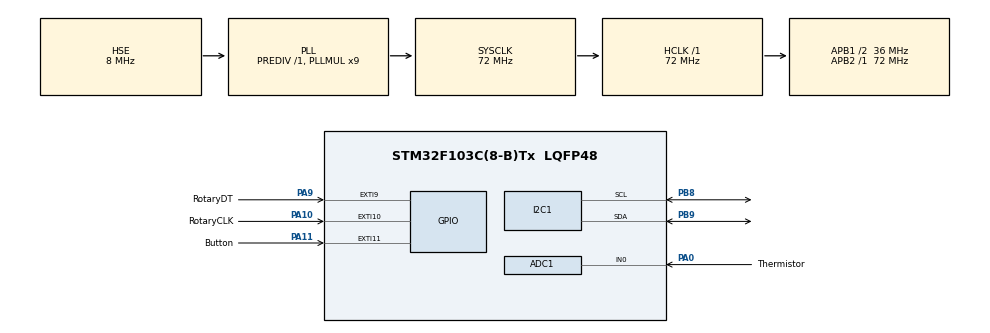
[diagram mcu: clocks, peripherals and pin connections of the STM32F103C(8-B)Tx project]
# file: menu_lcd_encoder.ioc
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Mcu.Family=STM32F1
RCC.PLLSourceVirtual=RCC_PLLSOURCE_HSE
NVIC.ADC1_2_IRQn=true\:0\:0\:false\:false\:true\:true\:true
Dma.ADC1.0.Instance=DMA1_Channel1
ADC1.Rank-0\#ChannelRegularConversion=1
PD1-OSC_OUT.Mode=HSE-External-Oscillator
ADC1.ContinuousConvMode=ENABLE
PA9.GPIO_Label=RotaryDT
PA11.GPIO_Label=Button
PD0-OSC_IN.Signal=RCC_OSC_IN
RCC.APB1CLKDivider=RCC_HCLK_DIV2
RCC.SYSCLKSource=RCC_SYSCLKSOURCE_PLLCLK
ProjectManager.StackSize=0x400
PA0-WKUP.GPIO_Label=Thermistor
PA0-WKUP.Signal=ADCx_IN0
PD1-OSC_OUT.Signal=RCC_OSC_OUT
RCC.ADCPresc=RCC_ADCPCLK2_DIV6
PA13.Signal=SYS_JTMS-SWDIO
Dma.ADC1.0.PeriphDataAlignment=DMA_PDATAALIGN_WORD
ProjectManager.TargetToolchain=STM32CubeIDE
Dma.ADC1.0.Mode=DMA_CIRCULAR
RCC.HCLKFreq_Value=72000000
PB9.Mode=I2C
Dma.ADC1.0.Priority=DMA_PRIORITY_LOW
RCC.APB2TimFreq_Value=72000000
PA9.Signal=GPXTI9
Dma.ADC1.0.Direction=DMA_PERIPH_TO_MEMORY
RCC.USBFreq_Value=72000000
Dma.ADC1.0.MemDataAlignment=DMA_MDATAALIGN_WORD
RCC.AHBFreq_Value=72000000
PD0-OSC_IN.Mode=HSE-External-Oscillator
NVIC.EXTI15_10_IRQn=true\:0\:0\:false\:false\:true\:true\:true
ADC1.Channel-0\#ChannelRegularConversion=ADC_CHANNEL_0
board=custom
RCC.PLLMUL=RCC_PLL_MUL9
RCC.APB2Freq_Value=72000000
PA14.Mode=Serial_Wire
Dma.ADC1.0.PeriphInc=DMA_PINC_DISABLE
PA10.GPIO_Label=RotaryCLK
SH.ADCx_IN0.0=ADC1_IN0,IN0
PA13.Mode=Serial_Wire
Mcu.Name=STM32F103C(8-B)Tx
ADC1.SamplingTime-0\#ChannelRegularConversion=ADC_SAMPLETIME_1CYCLE_5
RCC.SYSCLKFreq_VALUE=72000000
Mcu.Package=LQFP48
PB9.Signal=I2C1_SDA
ADC1.master=1
PA11.Signal=GPXTI11
NVIC.EXTI9_5_IRQn=true\:0\:0\:false\:false\:true\:true\:true
PA10.Signal=GPXTI10
PA14.Signal=SYS_JTCK-SWCLK
Dma.ADC1.0.MemInc=DMA_MINC_ENABLE
ProjectManager.HeapSize=0x200
NVIC.PriorityGroup=NVIC_PRIORITYGROUP_4
ADC1.NbrOfConversionFlag=1
PB8.Mode=I2C
RCC.APB1TimFreq_Value=72000000
PB8.Signal=I2C1_SCL
NVIC.DMA1_Channel1_IRQn=true\:0\:0\:false\:false\:true\:false\:true
Dma.Request0=ADC1
RCC.APB1Freq_Value=36000000

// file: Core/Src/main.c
/* USER CODE BEGIN Header */
/**
  ******************************************************************************
  * @file           : main.c
  * @brief          : Main program body
  ******************************************************************************
  * @attention
  *
  * <h2><center>&copy; Copyright (c) 2022 STMicroelectronics.
  * All rights reserved.</center></h2>
  *
  * This software component is licensed by ST under BSD 3-Clause license,
  * the "License"; You may not use this file except in compliance with the
  * License. You may obtain a copy of the License at:
  *                        opensource.org/licenses/BSD-3-Clause
  *
  ******************************************************************************
  */
/* USER CODE END Header */
#include "main.h"

/* USER CODE BEGIN Includes */
#include "i2c-lcd.h"
#include "stdbool.h"
/* USER CODE END Includes */

/* USER CODE BEGIN PTD */

enum Button {Ok, Left, Right, NoPressed};

typedef struct PETfilConv{
	bool colecPET_state;
	bool colecFil_state;
	bool filDetector_state;
	bool soundAlarm_state;
	bool lightAlarm_state;
	uint32_t ExtTemp;
}PETfilConv;
/* USER CODE END PTD */

/* USER CODE BEGIN PD */
#define	CLEAR_LCD		0x01
#define LINE1_LCD 	0x80|0x00
#define LINE2_LCD	0x80|0x40
#define LINE3_LCD	0x80|0x14
#define LINE4_LCD	0x80|0x54
#define C_LINE1_LCD	0x80|0x13
#define C_LINE2_LCD	0x80|0x53
#define C_LINE3_LCD	0x80|0x27
#define C_LINE4_LCD	0x80|0x67
#define LINES		4

int reg_lines[LINES] = {
				0x80|0x00,
				0x80|0x40,
				0x80|0x14,
				0x80|0x54
			};
/* USER CODE END PD */

/* USER CODE BEGIN PM */
char *CURSOR[] = {">"};
char *CHAR_VACIO[] = {" "};

const char *ScreenStart[] = {
    "     PlasticBOT     ",
    "        v0.1        ",
	"                    ",
	"   CFP nro 8 SMATA  "

};

const char *ScreenWorking[] = {
    "  T act/T trab   ",
	"                   ",
    "   Extruyendo...   ",
    "                   "
};

const char *PrinMenu1[] = {
    "Pantalla Principal ",
    "Extrusores         ",
    "Colectores PET     ",
    "Colectores fil.    "
};

const char *PrinMenu2[] = {
    "Alarmas            ",
    "Historial          ",
    "Acerca de...       ",
	"                   "
};

const char *SubMenu1[] = {
    "Volver...          ",
    "Extrusor 1         ",
	"                   ",
	"                   "
};

const char *SubMenu1_2[] = {
    "Elegir T trabajo:  ",
	"                    ",
	"                    ",
	"                    "
};

const char *SubMenu2[] = {
    "Volver...          ",
    "Colector PET 1     ",
	"                   ",
	"                   "
};

const char *SubMenu3[] = {
    "Volver...          ",
    "Colector fil 1     ",
	"                   ",
	"                   "
};

const char *SubMenu4[] = {
    "Volver...          ",
    "Luminica           ",
    "Sonora             ",
	"                   "
};

const char *SubMenu5[] = {
    "Volver...          ",
    "Extrusor 1         ",
    "Borrar historial   ",
	"                   "
};

const char *SubMenu6[] = {
    "Proyecto final de   ",
    "Esp. en Sistemas    ",
    "Embebidos (LSE-UBA) ",
	"                    "
};

const char *SubMenu7[] = {
    "Ing.Nicolas Vargas  ",
    "Alice. Año 2022     ",
	"                    ",
	"                    "
};
/* USER CODE END PM */

ADC_HandleTypeDef hadc1;
DMA_HandleTypeDef hdma_adc1;

I2C_HandleTypeDef hi2c1;

/* USER CODE BEGIN PV */
/*
pantalla 0 - pantalla de trabajo
pantalla 11 - menu principal (parte 1)
pantalla 12 - menu principal (parte 2)
pantalla 2 - sub menu 1 (EXTRUSORES)
pantalla 3 - sub menu 2 (COLECTORES PET)
pantalla 4 - sub menu 3 (COLECTORES fil.)
pantalla 5 - sub menu 4 (ALARMAS)
pantalla 6 - sub menu 5 (HISTORIAL)
pantalla 7 - sub menu 6 (ACERCA DE...) (parte 1)
pantalla 8 - sub menu 6 (ACERCA DE...) (parte 2)
pantalla 9 - sub sub menu 1 (Seteo temp Extrusor)
*/
#define workingScreen 			0
#define mainMenu_part1 			11
#define mainMenu_part2 			12
#define subMenuExtrusores 		2
#define subMenuColectoresPET 	3
#define subMenuColectoresFil 	4
#define subMenuAlarmas			5
#define subMenuHistorial		6
#define subMenuAcercaDe_part1	7
#define menuSetTempExt			8
#define cantItemsPrinMenu 		7
#define cantItemsSubMenu1 		2
#define cantItemsSubMenu2 		2
#define cantItemsSubMenu3 		2
#define cantItemsSubMenu4 		3
#define cantItemsSubMenu5 		3
#define cantItemsSubMenu6 		2

uint8_t currentScreen = 0;
uint8_t previousScreen = 0;
uint32_t previousTick = 0;
uint32_t currentTick = 0;
enum Button btnPressed = Ok;
uint8_t indexes[9] = {0,0,0,0,0,0,0,0,0};
uint8_t previousIndexes[9] = {1,1,1,1,1,1,1,1,1};

/*
indexes[0] -> NO SE UTILIZA
indexes[1] -> pantalla 1 - menu principal
indexes[2] -> pantalla 2 - sub menu 1
indexes[3] -> pantalla 3 - sub menu 2
indexes[4] -> pantalla 4 - sub menu 3
indexes[5] -> pantalla 5 - sub menu 4
indexes[6] -> pantalla 6 - sub menu 5
indexes[7] -> pantalla 7 - sub menu 6
indexes[8] -> pantalla 8 - sub sub menu 1
*/

PETfilConv PETfilConv1;
/* USER CODE END PV */

void SystemClock_Config(void);
static void MX_GPIO_Init(void);
static void MX_DMA_Init(void);
static void MX_I2C1_Init(void);
static void MX_ADC1_Init(void);

int main(void)
{

  /* MCU Configuration--------------------------------------------------------*/

  /* Reset of all peripherals, Initializes the Flash interface and the Systick. */
  HAL_Init();

  /* USER CODE BEGIN Init */
	PETfilConv1.colecFil_state = false;
	PETfilConv1.colecPET_state = false;
	PETfilConv1.filDetector_state = false;
	PETfilConv1.lightAlarm_state = false;
	PETfilConv1.soundAlarm_state = false;
	PETfilConv1.ExtTemp = 25;
  /* USER CODE END Init */

  /* Configure the system clock */
  SystemClock_Config();

  /* Initialize all configured peripherals */
  MX_GPIO_Init();
  MX_DMA_Init();
  MX_I2C1_Init();
  MX_ADC1_Init();
  /* USER CODE BEGIN 2 */
  lcd_init();
  HAL_Delay(100);
  printScreen(ScreenStart);
  HAL_Delay(4000);
  clearScreen();
  //lcd_send_cmd (CLEAR_LCD);  // clear display
  //HAL_Delay(1);

  /* USER CODE END 2 */

  /* Infinite loop */
  /* USER CODE BEGIN WHILE */
  while (1)
  {
	  updateDataGUI();
	  updateLCD();
	  updateCursor();
    /* USER CODE END WHILE */

  }
}

void SystemClock_Config(void)
{
  RCC_OscInitTypeDef RCC_OscInitStruct = {0};
  RCC_ClkInitTypeDef RCC_ClkInitStruct = {0};
  RCC_PeriphCLKInitTypeDef PeriphClkInit = {0};

  /** Initializes the RCC Oscillators according to the specified parameters
  * in the RCC_OscInitTypeDef structure.
  */
  RCC_OscInitStruct.OscillatorType = RCC_OSCILLATORTYPE_HSE;
  RCC_OscInitStruct.HSEState = RCC_HSE_ON;
  RCC_OscInitStruct.HSEPredivValue = RCC_HSE_PREDIV_DIV1;
  RCC_OscInitStruct.HSIState = RCC_HSI_ON;
  RCC_OscInitStruct.PLL.PLLState = RCC_PLL_ON;
  RCC_OscInitStruct.PLL.PLLSource = RCC_PLLSOURCE_HSE;
  RCC_OscInitStruct.PLL.PLLMUL = RCC_PLL_MUL9;
  if (HAL_RCC_OscConfig(&RCC_OscInitStruct) != HAL_OK)
  {
    Error_Handler();
  }
  /** Initializes the CPU, AHB and APB buses clocks
  */
  RCC_ClkInitStruct.ClockType = RCC_CLOCKTYPE_HCLK|RCC_CLOCKTYPE_SYSCLK
                              |RCC_CLOCKTYPE_PCLK1|RCC_CLOCKTYPE_PCLK2;
  RCC_ClkInitStruct.SYSCLKSource = RCC_SYSCLKSOURCE_PLLCLK;
  RCC_ClkInitStruct.AHBCLKDivider = RCC_SYSCLK_DIV1;
  RCC_ClkInitStruct.APB1CLKDivider = RCC_HCLK_DIV2;
  RCC_ClkInitStruct.APB2CLKDivider = RCC_HCLK_DIV1;

  if (HAL_RCC_ClockConfig(&RCC_ClkInitStruct, FLASH_LATENCY_2) != HAL_OK)
  {
    Error_Handler();
  }
  PeriphClkInit.PeriphClockSelection = RCC_PERIPHCLK_ADC;
  PeriphClkInit.AdcClockSelection = RCC_ADCPCLK2_DIV6;
  if (HAL_RCCEx_PeriphCLKConfig(&PeriphClkInit) != HAL_OK)
  {
    Error_Handler();
  }
}

static void MX_ADC1_Init(void)
{

  ADC_ChannelConfTypeDef sConfig = {0};

  /** Common config
  */
  hadc1.Instance = ADC1;
  hadc1.Init.ScanConvMode = ADC_SCAN_DISABLE;
  hadc1.Init.ContinuousConvMode = ENABLE;
  hadc1.Init.DiscontinuousConvMode = DISABLE;
  hadc1.Init.ExternalTrigConv = ADC_SOFTWARE_START;
  hadc1.Init.DataAlign = ADC_DATAALIGN_RIGHT;
  hadc1.Init.NbrOfConversion = 1;
  if (HAL_ADC_Init(&hadc1) != HAL_OK)
  {
    Error_Handler();
  }
  /** Configure Regular Channel
  */
  sConfig.Channel = ADC_CHANNEL_0;
  sConfig.Rank = ADC_REGULAR_RANK_1;
  sConfig.SamplingTime = ADC_SAMPLETIME_1CYCLE_5;
  if (HAL_ADC_ConfigChannel(&hadc1, &sConfig) != HAL_OK)
  {
    Error_Handler();
  }

}

static void MX_I2C1_Init(void)
{

  hi2c1.Instance = I2C1;
  hi2c1.Init.ClockSpeed = 100000;
  hi2c1.Init.DutyCycle = I2C_DUTYCYCLE_2;
  hi2c1.Init.OwnAddress1 = 0;
  hi2c1.Init.AddressingMode = I2C_ADDRESSINGMODE_7BIT;
  hi2c1.Init.DualAddressMode = I2C_DUALADDRESS_DISABLE;
  hi2c1.Init.OwnAddress2 = 0;
  hi2c1.Init.GeneralCallMode = I2C_GENERALCALL_DISABLE;
  hi2c1.Init.NoStretchMode = I2C_NOSTRETCH_DISABLE;
  if (HAL_I2C_Init(&hi2c1) != HAL_OK)
  {
    Error_Handler();
  }

}

static void MX_DMA_Init(void)
{

  /* DMA controller clock enable */
  __HAL_RCC_DMA1_CLK_ENABLE();

  /* DMA interrupt init */
  /* DMA1_Channel1_IRQn interrupt configuration */
  HAL_NVIC_SetPriority(DMA1_Channel1_IRQn, 0, 0);
  HAL_NVIC_EnableIRQ(DMA1_Channel1_IRQn);

}

static void MX_GPIO_Init(void)
{
  GPIO_InitTypeDef GPIO_InitStruct = {0};

  /* GPIO Ports Clock Enable */
  __HAL_RCC_GPIOD_CLK_ENABLE();
  __HAL_RCC_GPIOA_CLK_ENABLE();
  __HAL_RCC_GPIOB_CLK_ENABLE();

  /*Configure GPIO pins : RotaryDT_Pin RotaryCLK_Pin Button_Pin */
  GPIO_InitStruct.Pin = RotaryDT_Pin|RotaryCLK_Pin|Button_Pin;
  GPIO_InitStruct.Mode = GPIO_MODE_IT_RISING;
  GPIO_InitStruct.Pull = GPIO_NOPULL;
  HAL_GPIO_Init(GPIOA, &GPIO_InitStruct);

  /* EXTI interrupt init*/
  HAL_NVIC_SetPriority(EXTI9_5_IRQn, 0, 0);
  HAL_NVIC_EnableIRQ(EXTI9_5_IRQn);

  HAL_NVIC_SetPriority(EXTI15_10_IRQn, 0, 0);
  HAL_NVIC_EnableIRQ(EXTI15_10_IRQn);

}

/* USER CODE BEGIN 4 */
void HAL_GPIO_EXTI_Callback(uint16_t GPIO_Pin)
{
	currentTick = HAL_GetTick();
	//Rotate encoder CCKW or CKW
	if(currentTick - previousTick > 300)
	{
		if(GPIO_Pin == RotaryDT_Pin)
		{
	    	//HAL_GPIO_TogglePin(GPIOB, LED_ROJO_Pin);
//	    	if(PrinMenuIndex == 1)PrinMenuIndex = 1;
//	    	else PrinMenuIndex--;
	    	btnPressed = Left;
	    	previousTick = currentTick;
		}

		else if(GPIO_Pin == RotaryCLK_Pin)
		{
	    	//HAL_GPIO_TogglePin(GPIOB, LED_VERDE_Pin);
//	    	if(PrinMenuIndex == 4) PrinMenuIndex = 4;
//	    	else PrinMenuIndex++;
	    	btnPressed = Right;
	    	previousTick = currentTick;
		}

		else if(GPIO_Pin == Button_Pin)
		{
//	    	if(PrinMenuIndex == 4) PrinMenuIndex = 4;
//	    	else PrinMenuIndex++;
	    	btnPressed = Ok;
	    	previousTick = currentTick;
		}
	}
}

void updateDataGUI(void)
{
	if(btnPressed != NoPressed)
	{
		switch(btnPressed)
		{
			case Ok:
				switch(currentScreen)
				{
					case workingScreen:	//pantalla de trabajo
						currentScreen = mainMenu_part1;
						indexes[1] = 0;
					break;

					case mainMenu_part1: //menu principal (parte 1)
						if(indexes[1] == 0) currentScreen = workingScreen;
						else if(indexes[1] == 1) currentScreen = subMenuExtrusores;
						else if(indexes[1] == 2) currentScreen = subMenuColectoresPET;
						else if(indexes[1] == 3) currentScreen = subMenuColectoresFil;
					break;

					case mainMenu_part2: //menu principal (parte 2)
						if(indexes[1] == 4) currentScreen = subMenuAlarmas;
						else if(indexes[1] == 5) currentScreen = subMenuHistorial;
						else if(indexes[1] == 6) currentScreen = subMenuAcercaDe_part1;
					break;

					case subMenuExtrusores: //sub menu 1 (EXTRUSORES)
						if(indexes[2] == 0) currentScreen = mainMenu_part1;
						else if (indexes[2] == 1) currentScreen = menuSetTempExt;
					break;

					case subMenuColectoresPET:	//sub menu 2 (COLECTORES PET)
						if(indexes[3] == 0) currentScreen = mainMenu_part1;
						else if(indexes[3] == 1)
						{
							if(PETfilConv1.colecPET_state == false)
							{
								PETfilConv1.colecPET_state = true;
								//imprime un OK en esa linea
							}
							else
							{
								PETfilConv1.colecPET_state = false;
								//borra OK en esa linea
							}
						}
					break;

					case subMenuColectoresFil:	//sub menu 3 (COLECTORES fil.)
						if(indexes[4] == 0) currentScreen = mainMenu_part1;
						else if(indexes[4] == 1)
						{
							if(PETfilConv1.colecFil_state == false)
							{
								PETfilConv1.colecFil_state = true;
								//imprime un OK en esa linea
							}
							else
							{
								PETfilConv1.colecFil_state = false;
								//borra OK en esa linea
							}
						}

					break;

					case subMenuAlarmas:	//sub menu 4 (ALARMAS)
						if(indexes[5] == 0) currentScreen = mainMenu_part2;
						else if(indexes[5] == 1)
						{
							if(PETfilConv1.lightAlarm_state == false)
							{
								PETfilConv1.lightAlarm_state = true;
								//imprime un OK en esa linea
							}
							else
							{
								PETfilConv1.lightAlarm_state = false;
								//borra OK en esa linea
							}
						}
						else if(indexes[5] == 2)
						{
							if(PETfilConv1.soundAlarm_state == false)
							{
								PETfilConv1.soundAlarm_state = true;
								//imprime un OK en esa linea
							}
							else
							{
								PETfilConv1.soundAlarm_state = false;
								//borra OK en esa linea
							}
						}

						if((PETfilConv1.soundAlarm_state == true)||(PETfilConv1.lightAlarm_state == true))	PETfilConv1.filDetector_state = true;
						else PETfilConv1.filDetector_state = false;
					break;

					case subMenuHistorial:	//sub menu 5 (HISTORIAL)
						if(indexes[6] == 0) currentScreen = mainMenu_part2;
						else{} //borra el valor acumulador del extrusor
					break;

					case subMenuAcercaDe_part1:	//sub menu 6 (ACERCA DE...)
						currentScreen = mainMenu_part2;
					break;

					case menuSetTempExt:	//menu seteo de temperatura COLECTORES
						currentScreen = subMenuColectoresPET;
					break;
				}
				break;

				case Left:
					switch(currentScreen)
					{
						case workingScreen:	//pantalla de trabajo
							//NADA
						break;

						case mainMenu_part1:
							if(indexes[1] == 0) indexes[1] = 0;
							else	indexes[1]--;
						break;

						case mainMenu_part2:
							if(indexes[1] <= 4)
							{
								currentScreen = mainMenu_part1;
								indexes[1]--;
							}
							else	indexes[1]--;
						break;

						case menuSetTempExt:	//menu seteo de temperatura COLECTORES
							if(PETfilConv1.ExtTemp == 0) PETfilConv1.ExtTemp = 0;
							else PETfilConv1.ExtTemp--;
						break;

						default:
							if(indexes[currentScreen] == 0) indexes[currentScreen] = 0;
							else indexes[currentScreen]--;
					}
				break;

				case Right:
					switch(currentScreen)
					{
						case workingScreen:	//pantalla de trabajo
							//NADA
						break;

						case mainMenu_part1:
							if(indexes[1] >= 3)
							{
								currentScreen = mainMenu_part2;
								indexes[1]++;
							}
							else	indexes[1]++;
						break;

						case mainMenu_part2:
							if(indexes[1] >= 6) indexes[1] == 6;
							else	indexes[1]++;
						break;

						case subMenuExtrusores:
							if(indexes[currentScreen] == (cantItemsSubMenu1-1)) indexes[currentScreen] = cantItemsSubMenu1-1;
							else indexes[currentScreen]++;
						break;

						case subMenuColectoresPET:
							if(indexes[currentScreen] == (cantItemsSubMenu2-1)) indexes[currentScreen] = cantItemsSubMenu2-1;
							else indexes[currentScreen]++;
						break;

						case subMenuColectoresFil:
							if(indexes[currentScreen] == (cantItemsSubMenu3-1)) indexes[currentScreen] = cantItemsSubMenu3-1;
							else indexes[currentScreen]++;
						break;

						case subMenuAlarmas:
							if(indexes[currentScreen] == (cantItemsSubMenu4-1)) indexes[currentScreen] = cantItemsSubMenu4-1;
							else indexes[currentScreen]++;
						break;

						case subMenuHistorial:
							if(indexes[currentScreen] == (cantItemsSubMenu5-1)) indexes[currentScreen] = cantItemsSubMenu5-1;
							else indexes[currentScreen]++;
						break;

						case subMenuAcercaDe_part1:
							if(indexes[currentScreen] == (cantItemsSubMenu6-1)) indexes[currentScreen] = cantItemsSubMenu6-1;
							else indexes[currentScreen]++;
						break;

						case menuSetTempExt:	//menu seteo de temperatura COLECTORES
							if(PETfilConv1.ExtTemp == 250) PETfilConv1.ExtTemp = 250;
							else PETfilConv1.ExtTemp++;	//Temp++
						break;
					}
				break;
		}

//		updateLCD();
		btnPressed = NoPressed;
	}
}

void updateLCD(void)
{
	if(currentScreen != previousScreen)
	{
//		previousScreen = currentScreen;

		switch(currentScreen)
		{
			case workingScreen: printScreen(ScreenWorking);
			break;

			case mainMenu_part1: printScreen(PrinMenu1);
			break;

			case mainMenu_part2: printScreen(PrinMenu2);
			break;

			case subMenuExtrusores: printScreen(SubMenu1);
			break;

			case subMenuColectoresPET: printScreen(SubMenu2);
			break;

			case subMenuColectoresFil: printScreen(SubMenu3);
			break;

			case subMenuAlarmas: printScreen(SubMenu4);
			break;

			case subMenuHistorial: printScreen(SubMenu5);
			break;

			case subMenuAcercaDe_part1: printScreen(SubMenu6);
			break;

			case menuSetTempExt: printScreenSettingTemp(PETfilConv1);
			break;
		}
	}
}

void printScreenSettingTemp(PETfilConv conversorPETfil)
{
	char aux = 0;
	  //lcd_send_cmd (CLEAR_LCD);  // clear display
	  //HAL_Delay(1);
	clearScreen();
	lcd_send_cmd(reg_lines[0]);
	lcd_send_string(SubMenu1_2[0]);
	lcd_send_cmd(reg_lines[2]);
	//REVISAR
	aux = '0'+ conversorPETfil.ExtTemp;
	lcd_send_string(aux);
}

void updateCursor(void)
{
  if(
		(previousIndexes[1] != indexes[1])||	//cambio indice en menu principal?
		(previousIndexes[2] != indexes[2])||	//cambio indice en sub menu 1?
		(previousIndexes[3] != indexes[3])||	//cambio indice en sub menu 2?
		(previousIndexes[4] != indexes[4])||	//cambio indice en sub menu 3?
		(previousIndexes[5] != indexes[5])||	//cambio indice en sub menu 4?
		(previousIndexes[6] != indexes[6])||	//cambio indice en sub menu 5?
		(previousIndexes[7] != indexes[7])||	//cambio indice en sub menu 6?
		(previousIndexes[8] != indexes[8] ||
		     previousScreen != currentScreen)		//cambio indice en sub sub menu 1?
	)
  {
	  previousScreen = currentScreen;
	  for(int i = 1 ; i < 9; i++) previousIndexes[i] = indexes[i];

	  clearAllCursor();

	switch(currentScreen)
	{
		case workingScreen:	//NO MUESTRA CURSOR
		break;

		case mainMenu_part1: printCursor(indexes[1]);
		break;

		case mainMenu_part2: printCursor(indexes[1]);
		break;

		case subMenuExtrusores: printCursor(indexes[2]);
		break;

		case subMenuColectoresPET: printCursor(indexes[3]);
		break;

		case subMenuColectoresFil: printCursor(indexes[4]);
		break;

		case subMenuAlarmas: printCursor(indexes[5]);
		break;

		case subMenuHistorial: printCursor(indexes[6]);
		break;

		case subMenuAcercaDe_part1:
		break;

		case menuSetTempExt:
		break;
	}
  }
}

void printCursor(uint8_t index)
{
	switch(index)
	{
		case 0:
			lcd_send_cmd(C_LINE1_LCD);	//primer linea
			lcd_send_string(CURSOR[0]);
		break;

		case 1:
			lcd_send_cmd(C_LINE2_LCD);	//primer linea
			lcd_send_string(CURSOR[0]);
		break;

		case 2:
			lcd_send_cmd(C_LINE3_LCD);	//primer linea
			lcd_send_string(CURSOR[0]);
		break;

		case 3:
			lcd_send_cmd(C_LINE4_LCD);	//primer linea
			lcd_send_string(CURSOR[0]);
		break;

		case 4:
			lcd_send_cmd(C_LINE1_LCD);	//primer linea
			lcd_send_string(CURSOR[0]);
			break;

		case 5:
			lcd_send_cmd(C_LINE2_LCD);	//primer linea
			lcd_send_string(CURSOR[0]);
			break;

		case 6:
			lcd_send_cmd(C_LINE3_LCD);	//primer linea
			lcd_send_string(CURSOR[0]);
			break;
	}
}

void clearAllCursor(void)
{
	lcd_send_cmd(C_LINE1_LCD);	//primer linea
	lcd_send_string(CHAR_VACIO[0]);
	lcd_send_cmd(C_LINE2_LCD);	//primer linea
	lcd_send_string(CHAR_VACIO[0]);
	lcd_send_cmd(C_LINE3_LCD);	//primer linea
	lcd_send_string(CHAR_VACIO[0]);
	lcd_send_cmd(C_LINE4_LCD);	//primer linea
	lcd_send_string(CHAR_VACIO[0]);
}

void printScreen(const char *screen[])
{
	  //lcd_send_cmd (CLEAR_LCD);  // clear display
	  //HAL_Delay(1);
	clearScreen();
	  for(int i = 0 ; i < LINES ; i++)
	  {
		  lcd_send_cmd(reg_lines[i]);
		  lcd_send_string(screen[i]);
	  }
}

void clearScreen(void)
{
	  lcd_send_cmd (CLEAR_LCD);  // clear display
	  HAL_Delay(100);
}

void getTemp(void)
{

}

void PIDTemp(void)
{

}
/* USER CODE END 4 */

void Error_Handler(void)
{
  __disable_irq();
  while (1)
  {
  }
}

/************************ (C) COPYRIGHT STMicroelectronics *****END OF FILE****/
